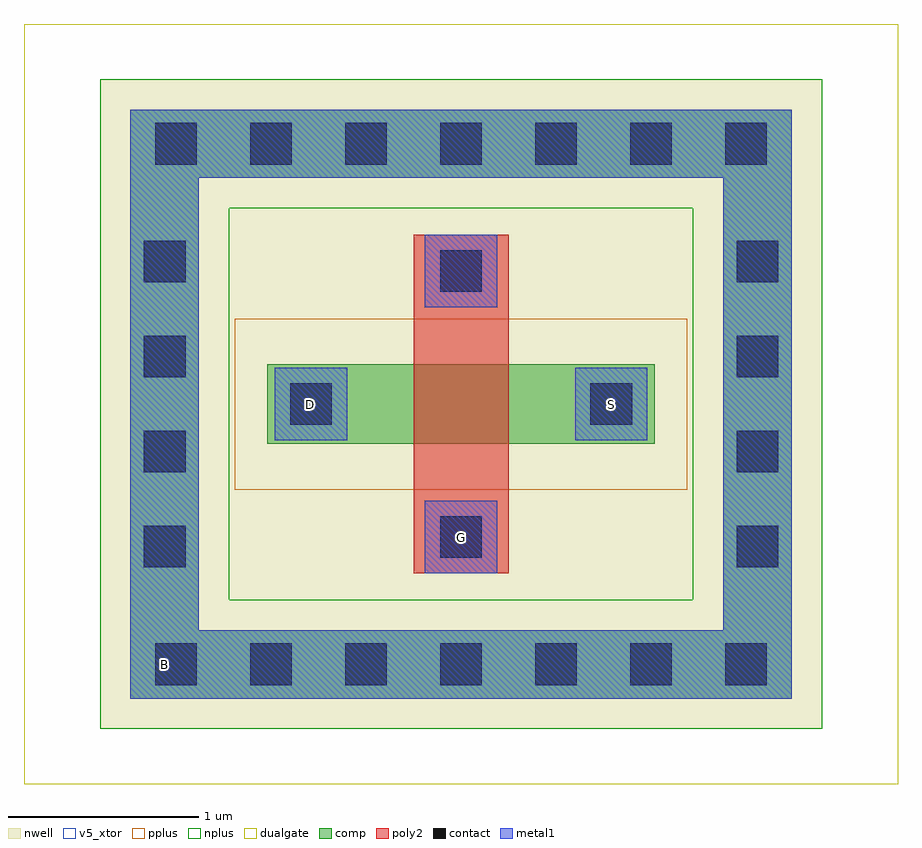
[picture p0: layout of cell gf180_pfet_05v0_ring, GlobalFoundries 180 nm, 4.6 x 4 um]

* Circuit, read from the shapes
.subckt gf180_pfet_05v0_ring B D G S
XM1 S G D B pfet_05v0 w=0.42u l=0.5u
.ends

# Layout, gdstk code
import gdstk
lib = gdstk.Library(unit=1e-6, precision=1e-09)
def R(c, l, rs):  # rectangles x0, y0, x1, y1
    for r in rs: c.add(gdstk.rectangle(r[:2], r[2:], *l))
def A(c, l, x, y, w, h, nx, ny, dx, dy):  # array of equal rectangles
    R(c, l, [(x+i*dx, y+j*dy, x+i*dx+w, y+j*dy+h) for i in range(nx) for j in range(ny)])
def P(c, l, *ps):  # polygons
    for p in ps: c.add(gdstk.Polygon(p, *l))
nwell = (21, 0)
comp = (22, 0)
poly2 = (30, 0)
pplus = (31, 0)
nplus = (32, 0)
contact = (33, 0)
metal1 = (34, 0)
dualgate = (55, 0)
v5_xtor = (112, 1)

pfet = lib.new_cell('pfet')
R(pfet, nwell, [(-1.24,-1.29,2.36,1.71)])
R(pfet, comp, [(-0.46,0,1.58,0.42)])
R(pfet, poly2, [(0.31,-0.68,0.81,1.1)])
R(pfet, pplus, [(-0.63,-0.24,1.75,0.66)])
R(pfet, contact, [(0.45,-0.6,0.67,-0.38), (-0.34,0.1,-0.12,0.32), (1.24,0.1,1.46,0.32), (0.45,0.8,0.67,1.02)])
R(pfet, metal1, [(0.37,-0.68,0.75,-0.3), (-0.42,0.02,-0.04,0.4), (1.16,0.02,1.54,0.4), (0.37,0.72,0.75,1.1)])
R(pfet, dualgate, [(-1.74,-1.79,2.86,2.21)])
R(pfet, v5_xtor, [(-1.74,-1.79,2.86,2.21)])

gf180_pfet_05v0_ring = lib.new_cell('gf180_pfet_05v0_ring')
R(gf180_pfet_05v0_ring, nwell, [(-1.34,-1.5,2.46,1.92)])
P(gf180_pfet_05v0_ring, comp, [(-1.18,-1.34),(-1.18,1.4),(-0.82,1.4),(-0.82,-0.98),(1.94,-0.98),(1.94,1.4),(-1.18,1.4),(-1.18,1.76),(2.3,1.76),(2.3,-1.34)])
P(gf180_pfet_05v0_ring, nplus, [(-1.34,-1.5),(-1.34,1.24),(-0.66,1.24),(-0.66,-0.82),(1.78,-0.82),(1.78,1.24),(-1.34,1.24),(-1.34,1.92),(2.46,1.92),(2.46,-1.5)])
A(gf180_pfet_05v0_ring, contact, -1.05, -1.27, 0.22, 0.22, 7, 2, 0.5, 2.74)
A(gf180_pfet_05v0_ring, contact, -1.11, -0.65, 0.22, 0.22, 1, 4, 0, 0.5)
A(gf180_pfet_05v0_ring, contact, 2.01, -0.65, 0.22, 0.22, 1, 4, 0, 0.5)
P(gf180_pfet_05v0_ring, metal1, [(-1.18,-1.34),(-1.18,1.4),(-0.82,1.4),(-0.82,-0.98),(1.94,-0.98),(1.94,1.4),(-1.18,1.4),(-1.18,1.76),(2.3,1.76),(2.3,-1.34)])
R(gf180_pfet_05v0_ring, dualgate, [(-1.74,-1.79,2.86,2.21)])
R(gf180_pfet_05v0_ring, v5_xtor, [(-1.74,-1.79,2.86,2.21)])
gf180_pfet_05v0_ring.add(gdstk.Reference(pfet, (0,0)))
gf180_pfet_05v0_ring.add(gdstk.Label('D', (-0.23,0.21), layer=34, texttype=10))
gf180_pfet_05v0_ring.add(gdstk.Label('S', (1.35,0.21), layer=34, texttype=10))
gf180_pfet_05v0_ring.add(gdstk.Label('G', (0.56,-0.49), layer=34, texttype=10))
gf180_pfet_05v0_ring.add(gdstk.Label('B', (-1,-1.16), layer=34, texttype=10))

lib.write_gds('gf180_pfet_05v0_ring.gds')
